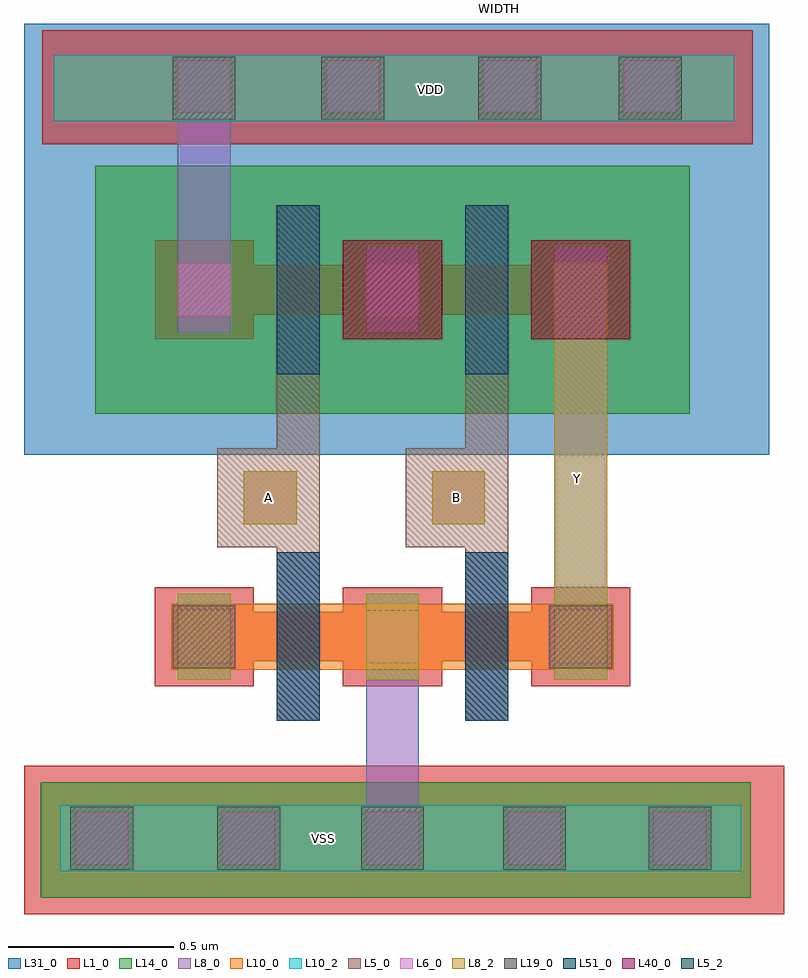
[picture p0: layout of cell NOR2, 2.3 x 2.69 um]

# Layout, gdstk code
import gdstk
lib = gdstk.Library(unit=1e-6, precision=5e-09)
def R(c, l, rs):  # rectangles x0, y0, x1, y1
    for r in rs: c.add(gdstk.rectangle(r[:2], r[2:], *l))
L1_0 = (1, 0)
L5_0 = (5, 0)
L5_2 = (5, 2)
L6_0 = (6, 0)
L8_0 = (8, 0)
L8_2 = (8, 2)
L10_0 = (10, 0)
L10_2 = (10, 2)
L14_0 = (14, 0)
L19_0 = (19, 0)
L31_0 = (31, 0)
L40_0 = (40, 0)
L51_0 = (51, 0)

pmos = lib.new_cell('pmos')
R(pmos, L1_0, [(0,0,0.3,0.3), (0.57,0,0.87,0.3), (0,0.075,0.87,0.225)])
R(pmos, L5_0, [(0.37,-0.105,0.5,0.405), (0.37,-0.105,0.5,0.405)])
R(pmos, L6_0, [(0.07,0.07,0.23,0.23), (0.64,0.07,0.8,0.23)])
R(pmos, L8_0, [(0.07,0.02,0.23,0.28), (0.07,0.02,0.23,0.28), (0.64,0.02,0.8,0.28), (0.64,0.02,0.8,0.28)])
R(pmos, L14_0, [(-0.18,-0.225,1.05,0.525)])
R(pmos, L31_0, [(-0.31,-0.31,1.18,0.61)])
R(pmos, L40_0, [(0.57,0,0.87,0.3)])
R(pmos, L51_0, [(0.37,-0.105,0.5,0.405)])
pmos.add(gdstk.Label('pmos', (0.435,0.15), layer=63, texttype=0))
pmos.add(gdstk.Label('pmos', (0.435,0.15), layer=51, texttype=0))

nmos = lib.new_cell('nmos')
R(nmos, L1_0, [(0,0,0.3,0.3), (0.57,0,0.87,0.3), (0,0.075,0.87,0.225)])
R(nmos, L5_0, [(0.37,-0.105,0.5,0.405)])
R(nmos, L5_2, [(0.37,-0.105,0.5,0.405)])
R(nmos, L6_0, [(0.07,0.07,0.23,0.23), (0.64,0.07,0.8,0.23)])
R(nmos, L8_0, [(0.07,0.02,0.23,0.28), (0.64,0.02,0.8,0.28)])
R(nmos, L8_2, [(0.07,0.02,0.23,0.28), (0.64,0.02,0.8,0.28)])
R(nmos, L51_0, [(0.37,-0.105,0.5,0.405)])
nmos.add(gdstk.Label('nmos', (0.435,0.15), layer=63, texttype=0))
nmos.add(gdstk.Label('nmos', (0.435,0.15), layer=51, texttype=0))

nor2 = lib.new_cell('NOR2')
R(nor2, L1_0, [(-1,-1.285,1.3,-0.835), (-0.945,1.045,1.205,1.39)])
R(nor2, L5_0, [(-0.235,-0.21,-0.105,0.36), (0.335,-0.205,0.465,0.365), (-0.415,-0.175,-0.115,0.125), (0.155,-0.175,0.455,0.125)])
R(nor2, L6_0, [(-0.845,-1.135,-0.685,-0.975), (-0.4,-1.135,-0.24,-0.975), (0.035,-1.135,0.195,-0.975), (0.465,-1.135,0.625,-0.975), (0.905,-1.135,1.065,-0.975), (-0.335,-0.105,-0.175,0.055), (0.235,-0.105,0.395,0.055), (-0.535,1.14,-0.375,1.3), (-0.085,1.14,0.075,1.3), (0.39,1.14,0.55,1.3), (0.815,1.14,0.975,1.3)])
R(nor2, L8_0, [(-0.845,-1.135,-0.685,-0.975), (-0.4,-1.135,-0.24,-0.975), (0.035,-1.135,0.195,-0.975), (0.035,-1.135,0.195,-0.365), (0.465,-1.135,0.625,-0.975), (0.905,-1.135,1.065,-0.975), (0.605,-0.525,0.765,0.685), (-0.335,-0.105,-0.175,0.055), (0.235,-0.105,0.395,0.055), (-0.535,0.525,-0.375,1.3), (-0.535,1.14,-0.375,1.3), (-0.085,1.14,0.075,1.3), (0.39,1.14,0.55,1.3), (0.815,1.14,0.975,1.3)])
R(nor2, L8_2, [(0.605,-0.525,0.765,0.685), (-0.335,-0.105,-0.175,0.055), (0.235,-0.105,0.395,0.055)])
R(nor2, L10_0, [(-0.89,-1.155,1.17,-0.955), (-0.555,-0.545,0.785,-0.345), (-0.91,1.115,1.15,1.315)])
R(nor2, L10_2, [(-0.89,-1.155,1.17,-0.955), (-0.91,1.115,1.15,1.315)])
R(nor2, L14_0, [(-0.95,-1.235,1.2,-0.885)])
R(nor2, L19_0, [(-0.86,-1.15,-0.67,-0.96), (-0.415,-1.15,-0.225,-0.96), (0.02,-1.15,0.21,-0.96), (0.45,-1.15,0.64,-0.96), (0.89,-1.15,1.08,-0.96), (-0.55,-0.54,-0.36,-0.35), (0.59,-0.54,0.78,-0.35), (-0.55,1.12,-0.36,1.31), (-0.1,1.12,0.09,1.31), (0.375,1.12,0.565,1.31), (0.8,1.12,0.99,1.31)])
R(nor2, L31_0, [(-1,0.105,1.255,1.41)])
nor2.add(gdstk.Reference(pmos, (-0.605,0.455)))
nor2.add(gdstk.Reference(pmos, (-0.035,0.455)))
nor2.add(gdstk.Reference(nmos, (-0.605,-0.595)))
nor2.add(gdstk.Reference(nmos, (-0.035,-0.595)))
nor2.add(gdstk.Label('WIDTH', (0.44,1.465), layer=63, texttype=0))
nor2.add(gdstk.Label('HEIGHT', (-1.415,-1.28), layer=63, texttype=0))
nor2.add(gdstk.Label('VDD', (0.23,1.21), layer=10, texttype=25))
nor2.add(gdstk.Label('VSS', (-0.095,-1.055), layer=10, texttype=25))
nor2.add(gdstk.Label('A', (-0.26,-0.025), layer=8, texttype=25))
nor2.add(gdstk.Label('B', (0.31,-0.025), layer=8, texttype=25))
nor2.add(gdstk.Label('Y', (0.675,0.035), layer=8, texttype=25))

lib.write_gds('NOR2.gds')
